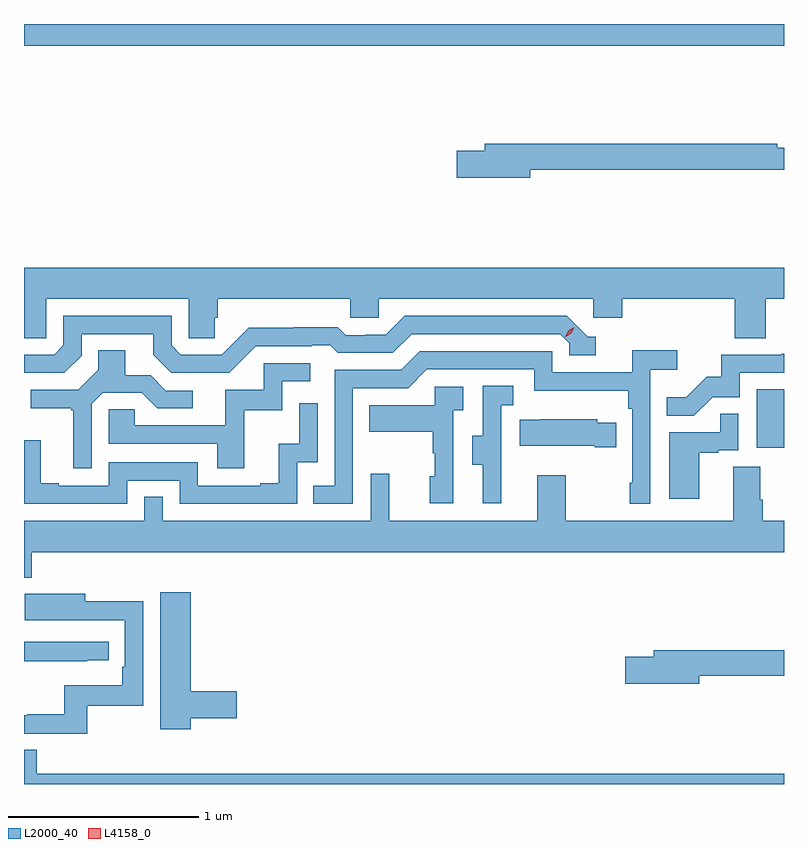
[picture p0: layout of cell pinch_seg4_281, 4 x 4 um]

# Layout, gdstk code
import gdstk
lib = gdstk.Library(unit=1e-6, precision=1e-09)
def R(c, l, rs):  # rectangles x0, y0, x1, y1
    for r in rs: c.add(gdstk.rectangle(r[:2], r[2:], *l))
def P(c, l, *ps):  # polygons
    for p in ps: c.add(gdstk.Polygon(p, *l))
L2000_40 = (2000, 40)
L4158_0 = (4158, 0)

pinch_seg4_281 = lib.new_cell('pinch_seg4_281')
R(pinch_seg4_281, L2000_40, [(918.164,806.694,918.307,807.001), (914.307,808.808,918.307,808.923)])
P(pinch_seg4_281, L2000_40, [(916.972,808.156),(918.307,808.156),(918.307,808.272),(918.272,808.272),(918.272,808.292),(916.733,808.292),(916.733,808.256),(916.584,808.256),(916.584,808.114),(916.972,808.114)],
  [(914.307,807.268),(914.424,807.268),(914.424,807.476),(915.174,807.476),(915.174,807.268),(915.311,807.268),(915.311,807.378),(915.326,807.378),(915.326,807.476),(916.023,807.476),(916.023,807.378),(916.173,807.378),(916.173,807.476),(917.304,807.476),(917.304,807.378),(917.456,807.378),(917.456,807.476),(918.047,807.476),(918.047,807.268),(918.212,807.268),(918.212,807.476),(918.307,807.476),(918.307,807.64),(914.307,807.64)],
  [(914.61,807.177),(914.61,807.291),(914.987,807.291),(914.987,807.181),(915.081,807.087),(915.387,807.087),(915.528,807.228),(915.821,807.228),(915.821,807.231),(915.92,807.231),(915.959,807.192),(916.248,807.192),(916.347,807.291),(917.13,807.291),(917.178,807.243),(917.178,807.18),(917.317,807.18),(917.317,807.276),(917.274,807.276),(917.163,807.387),(916.31,807.387),(916.211,807.288),(916.104,807.288),(916.104,807.285),(916.001,807.285),(915.959,807.328),(915.726,807.328),(915.726,807.325),(915.49,807.325),(915.348,807.183),(915.132,807.183),(915.084,807.231),(915.084,807.387),(914.514,807.387),(914.514,807.231),(914.466,807.183),(914.307,807.183),(914.307,807.087),(914.52,807.087)],
  [(916.038,807.006),(916.329,807.006),(916.428,807.105),(916.992,807.105),(916.992,806.993),(917.488,806.993),(917.488,806.897),(917.508,806.897),(917.508,806.509),(917.496,806.509),(917.496,806.397),(917.604,806.397),(917.604,807.104),(917.746,807.104),(917.746,807.206),(917.507,807.206),(917.507,807.09),(917.088,807.09),(917.088,807.201),(916.391,807.201),(916.292,807.102),(915.942,807.102),(915.942,806.493),(915.829,806.493),(915.829,806.397),(916.038,806.397)],
  [(914.664,806.925),(914.721,806.982),(914.927,806.982),(915.008,806.901),(915.196,806.901),(915.196,806.994),(915.054,806.994),(914.974,807.074),(914.839,807.074),(914.839,807.206),(914.699,807.206),(914.699,807.104),(914.592,806.997),(914.343,806.997),(914.343,806.9),(914.556,806.9),(914.556,806.889),(914.567,806.889),(914.567,806.586),(914.664,806.586)],
  [(917.931,806.958),(918.075,806.958),(918.075,807.087),(918.307,807.087),(918.307,807.188),(918.295,807.188),(918.295,807.183),(917.977,807.183),(917.977,807.066),(917.9,807.066),(917.793,806.959),(917.689,806.959),(917.689,806.86),(917.833,806.86)],
  [(915.467,806.889),(915.666,806.889),(915.666,807.042),(915.814,807.042),(915.814,807.138),(915.57,807.138),(915.57,806.997),(915.365,806.997),(915.365,806.811),(914.891,806.811),(914.891,806.895),(914.754,806.895),(914.754,806.715),(915.323,806.715),(915.323,806.586),(915.467,806.586)],
  [(916.82,806.613),(916.818,806.613),(916.818,806.917),(916.882,806.917),(916.882,807.02),(916.722,807.02),(916.722,806.757),(916.667,806.757),(916.667,806.602),(916.721,806.602),(916.721,806.4),(916.82,806.4)],
  [(916.566,806.891),(916.618,806.891),(916.618,807.015),(916.47,807.015),(916.47,806.917),(916.123,806.917),(916.123,806.777),(916.458,806.777),(916.458,806.663),(916.468,806.663),(916.468,806.544),(916.442,806.544),(916.442,806.4),(916.566,806.4)],
  [(914.85,806.52),(915.126,806.52),(915.126,806.397),(915.744,806.397),(915.744,806.616),(915.852,806.616),(915.852,806.926),(915.756,806.926),(915.756,806.714),(915.647,806.714),(915.647,806.506),(915.551,806.506),(915.551,806.493),(915.222,806.493),(915.222,806.616),(914.754,806.616),(914.754,806.493),(914.491,806.493),(914.491,806.506),(914.395,806.506),(914.395,806.731),(914.307,806.731),(914.307,806.397),(914.85,806.397)],
  [(917.86,806.667),(917.96,806.667),(917.96,806.679),(918.066,806.679),(918.066,806.873),(917.971,806.873),(917.971,806.775),(917.702,806.775),(917.702,806.424),(917.86,806.424)],
  [(917.423,806.824),(917.325,806.824),(917.325,806.842),(917.023,806.842),(917.023,806.839),(916.915,806.839),(916.915,806.702),(917.312,806.702),(917.312,806.695),(917.423,806.695)],
  [(918.307,806.308),(918.194,806.308),(918.194,806.42),(918.181,806.42),(918.181,806.594),(918.041,806.594),(918.041,806.308),(917.157,806.308),(917.157,806.548),(917.009,806.548),(917.009,806.308),(916.229,806.308),(916.229,806.557),(916.131,806.557),(916.131,806.308),(915.036,806.308),(915.036,806.435),(914.94,806.435),(914.94,806.308),(914.307,806.308),(914.307,806.009),(914.348,806.009),(914.348,806.144),(918.307,806.144)],
  [(915.184,805.27),(915.427,805.27),(915.427,805.412),(915.184,805.412),(915.184,805.933),(915.023,805.933),(915.023,805.212),(915.184,805.212)],
  [(914.641,805.335),(914.934,805.335),(914.934,805.886),(914.629,805.886),(914.629,805.924),(914.311,805.924),(914.311,805.784),(914.525,805.784),(914.525,805.785),(914.838,805.785),(914.838,805.54),(914.825,805.54),(914.825,805.444),(914.52,805.444),(914.52,805.289),(914.323,805.289),(914.323,805.284),(914.307,805.284),(914.307,805.188),(914.641,805.188)],
  [(914.639,805.575),(914.752,805.575),(914.752,805.671),(914.307,805.671),(914.307,805.57),(914.639,805.57)],
  [(917.86,805.492),(918.307,805.492),(918.307,805.628),(917.621,805.628),(917.621,805.592),(917.472,805.592),(917.472,805.45),(917.86,805.45)],
  [(918.307,804.976),(914.375,804.976),(914.375,805.103),(914.307,805.103),(914.307,804.923),(918.307,804.923)])
P(pinch_seg4_281, L4158_0, [(917.156,807.275),(917.156,807.276),(917.172,807.308),(917.202,807.328),(917.202,807.328),(917.202,807.327),(917.187,807.295),(917.156,807.275)])

lib.write_gds('pinch_seg4_281.gds')
